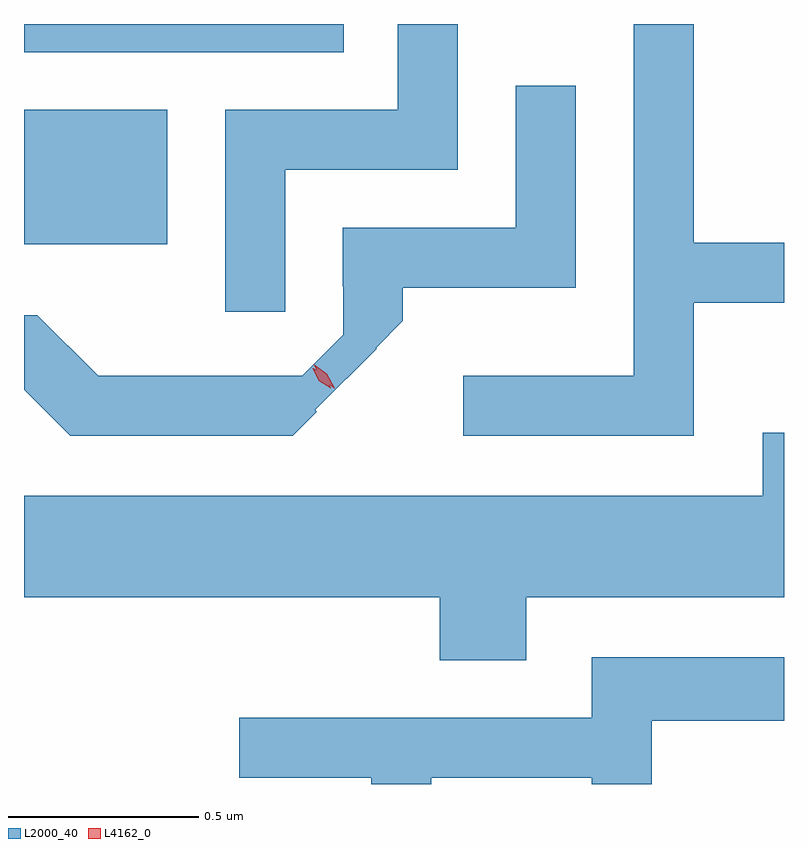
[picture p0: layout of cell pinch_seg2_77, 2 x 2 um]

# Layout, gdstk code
import gdstk
lib = gdstk.Library(unit=1e-6, precision=1e-09)
def R(c, l, rs):  # rectangles x0, y0, x1, y1
    for r in rs: c.add(gdstk.rectangle(r[:2], r[2:], *l))
def P(c, l, *ps):  # polygons
    for p in ps: c.add(gdstk.Polygon(p, *l))
L2000_40 = (2000, 40)
L4162_0 = (4162, 0)

pinch_seg2_77 = lib.new_cell('pinch_seg2_77')
R(pinch_seg2_77, L2000_40, [(1218.557,1049.246,1218.934,1049.599), (1218.557,1049.751,1219.398,1049.825)])
P(pinch_seg2_77, L2000_40, [(1219.244,1049.441),(1219.699,1049.441),(1219.699,1049.825),(1219.541,1049.825),(1219.541,1049.599),(1219.086,1049.599),(1219.086,1049.068),(1219.244,1049.068)],
  [(1220.319,1049.091),(1220.557,1049.091),(1220.557,1049.249),(1220.319,1049.249),(1220.319,1049.825),(1220.161,1049.825),(1220.161,1048.899),(1219.713,1048.899),(1219.713,1048.741),(1220.319,1048.741)],
  [(1219.328,1048.805),(1219.324,1048.81),(1219.485,1048.971),(1219.484,1048.973),(1219.554,1049.044),(1219.554,1049.131),(1220.009,1049.131),(1220.009,1049.663),(1219.851,1049.663),(1219.851,1049.289),(1219.396,1049.289),(1219.396,1049.135),(1219.397,1049.135),(1219.397,1049.007),(1219.289,1048.899),(1218.752,1048.899),(1218.592,1049.059),(1218.557,1049.059),(1218.557,1048.863),(1218.679,1048.741),(1219.264,1048.741)],
  [(1219.879,1048.316),(1220.557,1048.316),(1220.557,1048.749),(1220.501,1048.749),(1220.501,1048.584),(1218.557,1048.584),(1218.557,1048.316),(1219.651,1048.316),(1219.651,1048.151),(1219.879,1048.151)],
  [(1219.629,1047.841),(1220.051,1047.841),(1220.051,1047.825),(1220.209,1047.825),(1220.209,1047.991),(1220.557,1047.991),(1220.557,1048.159),(1220.051,1048.159),(1220.051,1047.999),(1219.123,1047.999),(1219.123,1047.841),(1219.471,1047.841),(1219.471,1047.825),(1219.629,1047.825)])
P(pinch_seg2_77, L4162_0, [(1219.374,1048.866),(1219.339,1048.891),(1219.319,1048.929),(1219.319,1048.93),(1219.32,1048.93),(1219.354,1048.905),(1219.375,1048.867),(1219.375,1048.866)],
  [(1219.364,1048.866),(1219.333,1048.886),(1219.317,1048.919),(1219.317,1048.919),(1219.318,1048.919),(1219.348,1048.899),(1219.364,1048.866),(1219.364,1048.866)])

lib.write_gds('pinch_seg2_77.gds')
